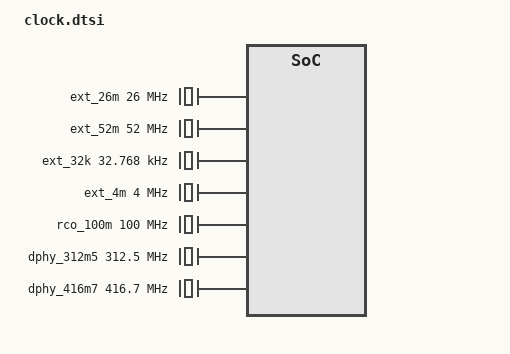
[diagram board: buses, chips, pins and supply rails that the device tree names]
// SPDX-License-Identifier: (Licenseref-Unisoc-General-1.0 OR GPL-2.0-only)
/*
 * clock.dtsi - Unisoc platform device
 *
 * Copyright 2022 Unisoc(Shanghai) Technologies Co.Ltd
 *
 * Licensed under the Unisoc General Software License, version 1.0 (the
 * License);
 * you may not use this file except in compliance with the License.
 * You may obtain a copy of the License at
 * https://www.unisoc.com/en_us/license/UNISOC_GENERAL_LICENSE_V1.0-EN_US
 * Software distributed under the License is distributed on an "AS IS" BASIS,
 * WITHOUT WARRANTIES OF ANY KIND, either express or implied.
 * See the Unisoc General Software License, version 1.0 for more details.
 *
 * Alternatively you can use and distribute this file under the terms of the
 * GNU General Public License version 2, provided that it has to be used
 *  (including but not limited to combining, linking) with any other file under
 * the GNU General Public License version 2 on platforms that use Unisoc Chips.
 */

&soc {
	ap_clk: clock-controller@20010000 {
		compatible = "sprd,ums9621-ap-clk";
		reg = <0 0x20010000 0 0x3000>;
		clocks = <&ext_26m>;
		clock-names = "ext-26m";
		#clock-cells = <1>;
	};

	gpu_clk: clock-controller@23010000 {
		compatible = "sprd,ums9621-gpu-clk";
		reg = <0 0x23010000 0 0x3000>;
		clocks = <&ext_26m>;
		clock-names = "ext-26m";
		#clock-cells = <1>;
	};

	mm_clk: clock-controller@30010000 {
		compatible = "sprd,ums9621-mm-clk";
		reg = <0 0x30010000 0 0x3000>;
		clocks = <&ext_26m>;
		clock-names = "ext-26m";
		#clock-cells = <1>;
	};

	dpu_vsp_clk: clock-controller@30110000 {
		compatible = "sprd,ums9621-dpu-vsp-clk";
		reg = <0 0x30110000 0 0x3000>;
		clocks = <&ext_26m>, <&dphy_312m5>, <&dphy_416m7>;
		clock-names = "ext-26m", "dphy-312m5", "dphy-416m7";
		#clock-cells = <1>;
	};

	aonapb_clk: clock-controller@64920000 {
		compatible = "sprd,ums9621-aonapb-clk";
		reg = <0 0x64920000 0 0x3000>;
		clocks = <&ext_26m>, <&ext_32k>, <&ext_4m>,
			<&rco_100m>, <&ext_52m>;
		clock-names = "ext-26m", "ext-32k", "ext-4m",
			 "rco-100m", "ext-52m";
		#clock-cells = <1>;
	};

	topdvfs_clk: clock-controller@64940000 {
		compatible = "sprd,ums9621-topdvfs-clk";
		reg = <0 0x64940000 0 0x3000>;
		clocks = <&ext_26m>;
		clock-names = "ext-26m";
		#clock-cells = <1>;
	};
};

/ {
	ext_26m: ext-26m {
		compatible = "fixed-clock";
		#clock-cells = <0>;
		clock-frequency = <26000000>;
		clock-output-names = "ext-26m";
	};

	ext_52m: ext-52m {
		compatible = "fixed-clock";
		#clock-cells = <0>;
		clock-frequency = <52000000>;
		clock-output-names = "ext-52m";
	};

	ext_32k: ext-32k {
		compatible = "fixed-clock";
		#clock-cells = <0>;
		clock-frequency = <32768>;
		clock-output-names = "ext-32k";
	};

	ext_4m: ext-4m {
		compatible = "fixed-clock";
		#clock-cells = <0>;
		clock-frequency = <4000000>;
		clock-output-names = "ext-4m";
	};

	rco_100m: rco-100m {
		compatible = "fixed-clock";
		#clock-cells = <0>;
		clock-frequency = <100000000>;
		clock-output-names = "rco-100m";
	};

	dphy_312m5: dphy-312m5 {
		compatible = "fixed-clock";
		#clock-cells = <0>;
		clock-frequency = <312500000>;
		clock-output-names = "dphy-312m5";
	};

	dphy_416m7: dphy-416m7 {
		compatible = "fixed-clock";
		#clock-cells = <0>;
		clock-frequency = <416700000>;
		clock-output-names = "dphy-416m7";
	};
};
